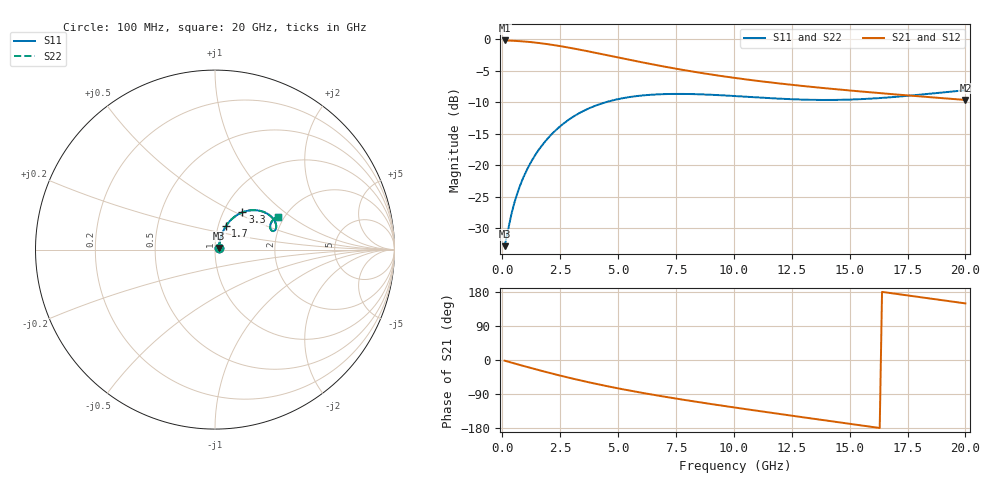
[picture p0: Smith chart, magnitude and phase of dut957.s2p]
! Touchstone file exported from HFSS 2024.1.0
!  File:  C:/UserFiles/LocalFiles/RDL_TSV_Batchsim/temp_RDL_TSV_957_1779966750.aedt
!  Generated:  07:29:53 PM May 28, 2026
!  Design:  RDL_TSV
!  Project:  temp_RDL_TSV_957_1779966750
!  Setup:  Setup1
!  Solution:  Sweep
! Variables:
!  dtsv = 5.16um
!  hbump = 3um
!  htsv = 79.73um
!  ldown = 377.34um
!  lrdl = 457.76um
!  p = 40
!  p1 = 57.62um
!  rhole = 10um
!  subl = 2963.06um
!  t = 450um
!  tdown = 2.68um
!  trdl = 3.17um
!  viad = 10um
!  wdown = 24.43um
!  wrdl = 15.84um
!  xbump = 18um
# GHz S MA R 50.000000
! Terminal data exported
! Port[1] = TM1_1_T1
! Port[2] = TM1_4_T1
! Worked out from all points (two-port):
!   200 points, 100 MHz to 20 GHz, reference 50 ohm
!   highest |S21| = -0.19 dB at 100 MHz (marker M1); lowest = -9.6 dB at 20 GHz (marker M2)
!   |S21| within 3 dB of the highest: start of sweep to 5.402 GHz
!   lowest |S11| = -32.8 dB at 100 MHz (marker M3), VSWR 1.05, Z = 52.1 + j0.914 ohm
!   |S11| at or under -10 dB: start of sweep to 4.456 GHz
!   |S22| runs from -32.8 to -8.1 dB; largest |S21 - S12| = 2.1e-14
!   S11 on the Smith chart (normalised r, x): 100 MHz: 1.04, +0.02; 1.7 GHz: 1.09, +0.29; 3.3 GHz: 1.23, +0.55; 20 GHz: 1.85, +0.80
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0.1  0.02285 22.5  0.9788 -1.8  0.9788 -1.8  0.02285 22.5
! Gamma 0 0 0 0
! Port Impedance 50 0 50 0
0.4  0.04152 53.7  0.9746 -7.0  0.9746 -7.0  0.04152 53.7
0.5  0.04883 57.7  0.9726 -8.7  0.9726 -8.7  0.04883 57.7
0.7  0.06389 62.4  0.9678 -12.1  0.9678 -12.1  0.06389 62.4
1.1  0.09505 65.9  0.9551 -18.9  0.9551 -18.9  0.09504 65.9
1.4  0.1189 66.0  0.9429 -23.8  0.9429 -23.8  0.1189 66.0
1.7  0.1428 65.1  0.9286 -28.7  0.9286 -28.7  0.1427 65.2
2.1  0.1741 63.0  0.9069 -35.0  0.9069 -35.0  0.174 63.0
2.5  0.2041 60.2  0.8828 -41.2  0.8828 -41.2  0.2041 60.2
3.3  0.258 53.6  0.8303 -52.8  0.8303 -52.8  0.258 53.6
3.5  0.2699 51.9  0.8168 -55.6  0.8168 -55.6  0.2698 51.9
4.2  0.3055 46.0  0.7695 -64.9  0.7695 -64.9  0.3055 46.0
4.9  0.3321 40.5  0.7239 -73.6  0.7239 -73.6  0.3321 40.5
5.8  0.3544 34.2  0.6697 -84.0  0.6697 -84.0  0.3543 34.2
6.8  0.3664 28.4  0.6167 -94.7  0.6167 -94.7  0.3664 28.4
8.3  0.3672 22.1  0.5515 -109.5  0.5515 -109.5  0.3672 22.2
10.1  0.3542 18.2  0.4921 -126.0  0.4921 -126.0  0.3542 18.2
11.7  0.3401 17.6  0.452 -140.0  0.452 -140.0  0.3401 17.7
13.4  0.3308 19.4  0.4185 -154.7  0.4185 -154.7  0.3309 19.5
15  0.3323 22.4  0.3926 -168.4  0.3926 -168.4  0.3324 22.5
16.7  0.3459 25.5  0.3689 177.2  0.3689 177.2  0.3461 25.5
20  0.3943 27.6  0.3303 149.4  0.3303 149.4  0.3946 27.7
